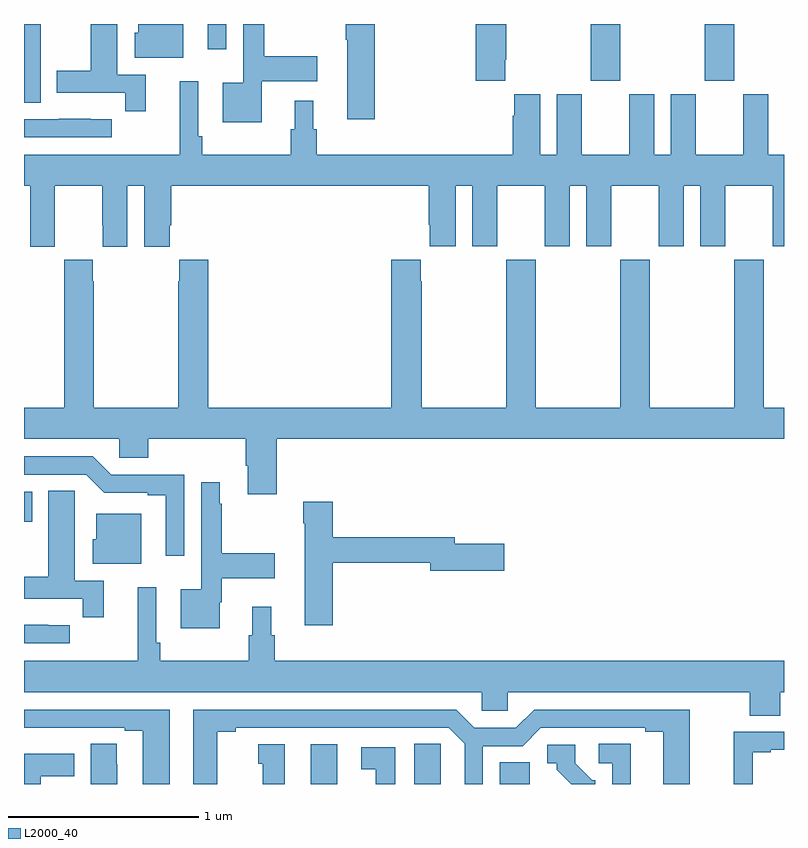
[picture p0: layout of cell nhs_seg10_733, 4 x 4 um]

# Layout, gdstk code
import gdstk
lib = gdstk.Library(unit=1e-6, precision=1e-09)
def R(c, l, rs):  # rectangles x0, y0, x1, y1
    for r in rs: c.add(gdstk.rectangle(r[:2], r[2:], *l))
def P(c, l, *ps):  # polygons
    for p in ps: c.add(gdstk.Polygon(p, *l))
L2000_40 = (2000, 40)

nhs_seg10_733 = lib.new_cell('nhs_seg10_733')
R(nhs_seg10_733, L2000_40, [(148.508,1298.5,148.648,1298.71), (149.504,1298.5,149.662,1298.615), (147,1299.88,147.043,1300.039), (147,1302.085,147.088,1302.5), (149.983,1302.201,150.138,1302.5), (150.583,1302.201,150.738,1302.5), (147.968,1302.366,148.065,1302.5)])
P(nhs_seg10_733, L2000_40, [(147.641,1302.234),(147.49,1302.234),(147.49,1302.5),(147.35,1302.5),(147.35,1302.255),(147.173,1302.255),(147.173,1302.138),(147.532,1302.138),(147.532,1302.042),(147.641,1302.042)],
  [(149.533,1302.313),(149.538,1302.313),(149.538,1302.5),(149.378,1302.5),(149.378,1302.201),(149.533,1302.201)],
  [(147.838,1302.5),(147.602,1302.5),(147.602,1302.453),(147.584,1302.453),(147.584,1302.323),(147.838,1302.323)],
  [(148.252,1302.2),(148.543,1302.2),(148.543,1302.33),(148.264,1302.33),(148.264,1302.5),(148.155,1302.5),(148.155,1302.19),(148.046,1302.19),(148.046,1301.984),(148.252,1301.984)],
  [(148.847,1302.5),(148.693,1302.5),(148.693,1302.418),(148.7,1302.418),(148.7,1302),(148.847,1302)],
  [(148.541,1301.946),(148.522,1301.946),(148.522,1302.097),(148.424,1302.097),(148.424,1301.946),(148.405,1301.946),(148.405,1301.812),(147.938,1301.812),(147.938,1301.908),(147.918,1301.908),(147.918,1302.199),(147.821,1302.199),(147.821,1301.812),(147,1301.812),(147,1301.648),(147.032,1301.648),(147.032,1301.328),(147.162,1301.328),(147.162,1301.44),(147.163,1301.44),(147.163,1301.648),(147.413,1301.648),(147.413,1301.44),(147.414,1301.44),(147.414,1301.328),(147.544,1301.328),(147.544,1301.648),(147.632,1301.648),(147.632,1301.328),(147.766,1301.328),(147.766,1301.44),(147.776,1301.44),(147.776,1301.648),(149.129,1301.648),(149.129,1301.443),(149.135,1301.443),(149.135,1301.331),(149.272,1301.331),(149.272,1301.648),(149.36,1301.648),(149.36,1301.331),(149.491,1301.331),(149.491,1301.648),(149.741,1301.648),(149.741,1301.331),(149.872,1301.331),(149.872,1301.648),(149.96,1301.648),(149.96,1301.331),(150.091,1301.331),(150.091,1301.648),(150.341,1301.648),(150.341,1301.331),(150.472,1301.331),(150.472,1301.648),(150.56,1301.648),(150.56,1301.331),(150.691,1301.331),(150.691,1301.648),(150.941,1301.648),(150.941,1301.331),(151,1301.331),(151,1301.812),(150.916,1301.812),(150.916,1302.13),(150.785,1302.13),(150.785,1301.812),(150.535,1301.812),(150.535,1302.13),(150.404,1302.13),(150.404,1301.812),(150.316,1301.812),(150.316,1302.13),(150.185,1302.13),(150.185,1301.812),(149.935,1301.812),(149.935,1302.13),(149.804,1302.13),(149.804,1301.812),(149.716,1301.812),(149.716,1302.13),(149.579,1302.13),(149.579,1302.017),(149.573,1302.017),(149.573,1301.812),(148.541,1301.812)],
  [(147.463,1302),(147.35,1302),(147.35,1302.001),(147.184,1302.001),(147.184,1302),(147,1302),(147,1301.904),(147.463,1301.904)],
  [(148.331,1300.316),(151,1300.316),(151,1300.48),(150.894,1300.48),(150.894,1301.26),(150.739,1301.26),(150.739,1300.48),(150.294,1300.48),(150.294,1301.26),(150.139,1301.26),(150.139,1300.48),(149.694,1300.48),(149.694,1301.26),(149.539,1301.26),(149.539,1300.48),(149.094,1300.48),(149.094,1301.147),(149.089,1301.147),(149.089,1301.26),(148.934,1301.26),(148.934,1300.48),(147.971,1300.48),(147.971,1301.26),(147.817,1301.26),(147.817,1301.147),(147.811,1301.147),(147.811,1300.48),(147.366,1300.48),(147.366,1301.147),(147.363,1301.147),(147.363,1301.26),(147.213,1301.26),(147.213,1301.147),(147.211,1301.147),(147.211,1300.48),(147,1300.48),(147,1300.316),(147.501,1300.316),(147.501,1300.218),(147.653,1300.218),(147.653,1300.316),(148.166,1300.316),(148.166,1300.174),(148.178,1300.174),(148.178,1300.026),(148.331,1300.026)],
  [(147.843,1300.128),(147.459,1300.128),(147.363,1300.224),(147,1300.224),(147,1300.128),(147.327,1300.128),(147.423,1300.032),(147.65,1300.032),(147.65,1300.02),(147.746,1300.02),(147.746,1299.702),(147.843,1299.702)],
  [(148.03,1299.456),(148.042,1299.456),(148.042,1299.584),(148.321,1299.584),(148.321,1299.714),(148.042,1299.714),(148.042,1299.974),(148.03,1299.974),(148.03,1300.087),(147.933,1300.087),(147.933,1299.526),(147.824,1299.526),(147.824,1299.32),(148.03,1299.32)],
  [(147.419,1299.57),(147.268,1299.57),(147.268,1299.932),(147.267,1299.932),(147.267,1300.043),(147.128,1300.043),(147.128,1299.591),(147,1299.591),(147,1299.474),(147.31,1299.474),(147.31,1299.378),(147.419,1299.378)],
  [(148.625,1299.664),(149.138,1299.664),(149.138,1299.622),(149.527,1299.622),(149.527,1299.764),(149.266,1299.764),(149.266,1299.8),(148.625,1299.8),(148.625,1299.985),(148.471,1299.985),(148.471,1299.872),(148.478,1299.872),(148.478,1299.336),(148.625,1299.336)],
  [(147.616,1299.922),(147.38,1299.922),(147.38,1299.789),(147.362,1299.789),(147.362,1299.659),(147.616,1299.659)],
  [(150.98,1298.984),(151,1298.984),(151,1299.148),(148.319,1299.148),(148.319,1299.282),(148.3,1299.282),(148.3,1299.433),(148.202,1299.433),(148.202,1299.282),(148.183,1299.282),(148.183,1299.148),(147.716,1299.148),(147.716,1299.244),(147.696,1299.244),(147.696,1299.535),(147.599,1299.535),(147.599,1299.148),(147,1299.148),(147,1298.984),(149.409,1298.984),(149.409,1298.886),(149.547,1298.886),(149.547,1298.984),(150.82,1298.984),(150.82,1298.86),(150.98,1298.86)],
  [(147.241,1299.336),(147.128,1299.336),(147.128,1299.337),(147,1299.337),(147,1299.24),(147.241,1299.24)],
  [(147.766,1298.892),(147,1298.892),(147,1298.796),(147.088,1298.796),(147.088,1298.795),(147.254,1298.795),(147.254,1298.796),(147.53,1298.796),(147.53,1298.781),(147.626,1298.781),(147.626,1298.5),(147.766,1298.5)],
  [(148.018,1298.776),(148.114,1298.776),(148.114,1298.796),(149.235,1298.796),(149.319,1298.712),(149.319,1298.5),(149.415,1298.5),(149.415,1298.7),(149.625,1298.7),(149.721,1298.796),(150.269,1298.796),(150.269,1298.776),(150.365,1298.776),(150.365,1298.5),(150.505,1298.5),(150.505,1298.892),(149.685,1298.892),(149.589,1298.796),(149.371,1298.796),(149.275,1298.892),(147.89,1298.892),(147.89,1298.5),(148.018,1298.5)],
  [(150.836,1298.667),(150.931,1298.667),(150.931,1298.679),(151,1298.679),(151,1298.775),(150.736,1298.775),(150.736,1298.5),(150.836,1298.5)],
  [(150.193,1298.711),(150.024,1298.711),(150.024,1298.61),(150.096,1298.61),(150.096,1298.5),(150.193,1298.5)],
  [(149.194,1298.603),(149.193,1298.603),(149.193,1298.711),(149.054,1298.711),(149.054,1298.5),(149.194,1298.5)],
  [(147.49,1298.603),(147.489,1298.603),(147.489,1298.711),(147.35,1298.711),(147.35,1298.5),(147.49,1298.5)],
  [(148.372,1298.71),(148.232,1298.71),(148.232,1298.607),(148.256,1298.607),(148.256,1298.5),(148.372,1298.5)],
  [(150.006,1298.52),(149.991,1298.52),(149.901,1298.61),(149.901,1298.706),(149.754,1298.706),(149.754,1298.61),(149.804,1298.61),(149.804,1298.575),(149.879,1298.5),(150.006,1298.5)],
  [(148.954,1298.694),(148.776,1298.694),(148.776,1298.578),(148.85,1298.578),(148.85,1298.5),(148.954,1298.5)],
  [(147.088,1298.542),(147.265,1298.542),(147.265,1298.658),(147,1298.658),(147,1298.5),(147.088,1298.5)])

lib.write_gds('nhs_seg10_733.gds')
